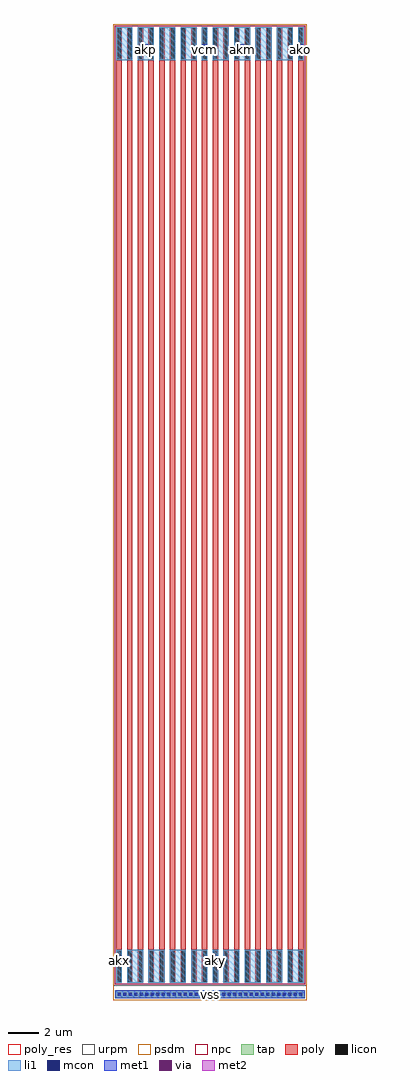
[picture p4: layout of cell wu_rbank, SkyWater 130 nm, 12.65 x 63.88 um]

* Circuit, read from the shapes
.subckt wu_rbank akm ako akp akx aky vcm vss
XR1 n1 akx vss sky130_fd_pr__res_xhigh_po w=0.35 l=58.11
XR2 n1 n2 vss sky130_fd_pr__res_xhigh_po w=0.35 l=58.11
XR3 akp n2 vss sky130_fd_pr__res_xhigh_po w=0.35 l=58.11
XR4 akp n3 vss sky130_fd_pr__res_xhigh_po w=0.35 l=58.11
XR5 n4 n3 vss sky130_fd_pr__res_xhigh_po w=0.35 l=58.11
XR6 n4 n5 vss sky130_fd_pr__res_xhigh_po w=0.35 l=58.11
XR7 n6 n5 vss sky130_fd_pr__res_xhigh_po w=0.35 l=58.11
XR8 n6 n7 vss sky130_fd_pr__res_xhigh_po w=0.35 l=58.11
XR9 vcm n7 vss sky130_fd_pr__res_xhigh_po w=0.35 l=58.11
XR10 n8 aky vss sky130_fd_pr__res_xhigh_po w=0.35 l=58.11
XR11 n8 n9 vss sky130_fd_pr__res_xhigh_po w=0.35 l=58.11
XR12 akm n9 vss sky130_fd_pr__res_xhigh_po w=0.35 l=58.11
XR13 akm n10 vss sky130_fd_pr__res_xhigh_po w=0.35 l=58.11
XR14 n11 n10 vss sky130_fd_pr__res_xhigh_po w=0.35 l=58.11
XR15 n11 n12 vss sky130_fd_pr__res_xhigh_po w=0.35 l=58.11
XR16 n13 n12 vss sky130_fd_pr__res_xhigh_po w=0.35 l=58.11
XR17 n13 n14 vss sky130_fd_pr__res_xhigh_po w=0.35 l=58.11
XR18 ako n14 vss sky130_fd_pr__res_xhigh_po w=0.35 l=58.11
.ends

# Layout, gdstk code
import gdstk
lib = gdstk.Library(unit=1e-6, precision=1e-09)
def R(c, l, rs):  # rectangles x0, y0, x1, y1
    for r in rs: c.add(gdstk.rectangle(r[:2], r[2:], *l))
def A(c, l, x, y, w, h, nx, ny, dx, dy):  # array of equal rectangles
    R(c, l, [(x+i*dx, y+j*dy, x+i*dx+w, y+j*dy+h) for i in range(nx) for j in range(ny)])
tap = (65, 44)
poly_res = (66, 13)
poly = (66, 20)
licon = (66, 44)
li1 = (67, 20)
mcon = (67, 44)
met1 = (68, 20)
via = (68, 44)
met2 = (69, 20)
urpm = (79, 20)
psdm = (94, 20)
npc = (95, 20)

wu_rbank = lib.new_cell('wu_rbank')
R(wu_rbank, tap, [(-0.25,0.25,12.15,0.75)])
A(wu_rbank, poly_res, -0.175, 3.41, 0.35, 58.23, 18, 1, 0.7, 0)
A(wu_rbank, poly, -0.175, 1.25, 0.35, 62.55, 18, 1, 0.7, 0)
A(wu_rbank, licon, -0.075, 0.415, 0.17, 0.17, 34, 1, 0.36, 0)
A(wu_rbank, licon, -0.095, 1.33, 0.19, 2, 18, 2, 0.7, 60.39)
A(wu_rbank, li1, -0.175, 1.25, 0.35, 2.16, 18, 2, 0.7, 60.39)
A(wu_rbank, li1, 0.525, 1.25, 1.05, 2.16, 4, 1, 1.4, 0)
A(wu_rbank, li1, 6.825, 1.25, 1.05, 2.16, 4, 1, 1.4, 0)
A(wu_rbank, li1, -0.175, 61.64, 1.05, 2.16, 4, 1, 1.4, 0)
A(wu_rbank, li1, 6.125, 61.64, 1.05, 2.16, 4, 1, 1.4, 0)
R(wu_rbank, li1, [(-0.25,0.25,12.15,0.75)])
A(wu_rbank, mcon, -0.075, 0.415, 0.17, 0.17, 34, 1, 0.36, 0)
R(wu_rbank, mcon, [(-0.085,2.445,0.085,2.615), (6.215,2.445,6.385,2.615), (-0.085,2.805,0.085,2.975), (6.215,2.805,6.385,2.975), (1.665,62.075,1.835,62.245), (5.515,62.075,5.685,62.245), (7.965,62.075,8.135,62.245), (11.815,62.075,11.985,62.245), (1.665,62.435,1.835,62.605), (5.515,62.435,5.685,62.605), (7.965,62.435,8.135,62.605), (11.815,62.435,11.985,62.605)])
R(wu_rbank, met1, [(-0.25,0.25,12.15,0.75), (-0.17,2.385,0.17,3.035), (6.13,2.385,6.47,3.035), (1.58,62.015,1.92,62.665), (5.43,62.015,5.77,62.665), (7.88,62.015,8.22,62.665), (11.73,62.015,12.07,62.665)])
R(wu_rbank, via, [(-0.075,2.635,0.075,2.785), (6.225,2.635,6.375,2.785), (1.675,62.265,1.825,62.415), (5.525,62.265,5.675,62.415), (7.975,62.265,8.125,62.415), (11.825,62.265,11.975,62.415)])
R(wu_rbank, met2, [(-0.165,2.545,0.165,2.875), (6.135,2.545,6.465,2.875), (1.585,62.175,1.915,62.505), (5.435,62.175,5.765,62.505), (7.885,62.175,8.215,62.505), (11.735,62.175,12.065,62.505)])
R(wu_rbank, urpm, [(-0.375,1.05,12.275,64)])
R(wu_rbank, psdm, [(-0.375,0.125,12.275,64)])
R(wu_rbank, npc, [(-0.275,1.15,12.175,63.9)])
wu_rbank.add(gdstk.Label('vss', (5.95,0.5), layer=68, texttype=5))
wu_rbank.add(gdstk.Label('akx', (0,2.71), layer=69, texttype=5))
wu_rbank.add(gdstk.Label('aky', (6.3,2.71), layer=69, texttype=5))
wu_rbank.add(gdstk.Label('akp', (1.75,62.34), layer=69, texttype=5))
wu_rbank.add(gdstk.Label('vcm', (5.6,62.34), layer=69, texttype=5))
wu_rbank.add(gdstk.Label('akm', (8.05,62.34), layer=69, texttype=5))
wu_rbank.add(gdstk.Label('ako', (11.9,62.34), layer=69, texttype=5))

lib.write_gds('wu_rbank.gds')
